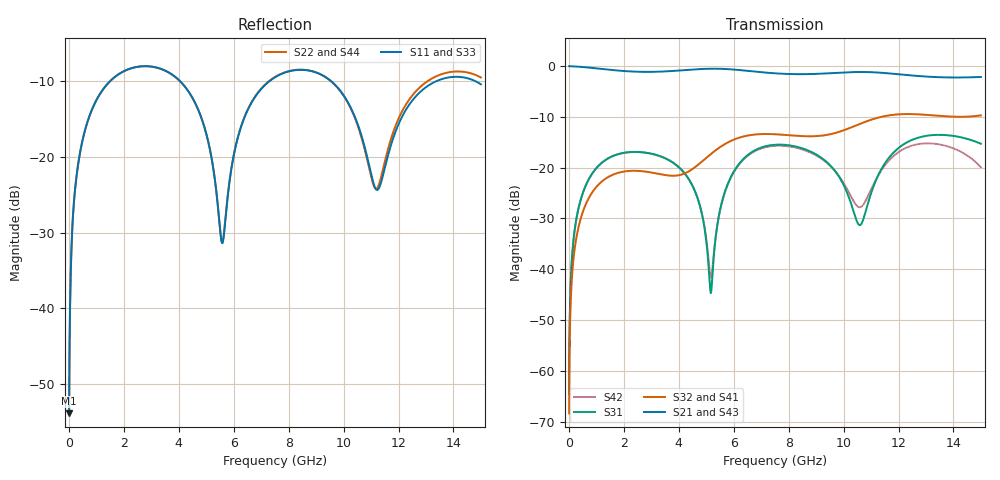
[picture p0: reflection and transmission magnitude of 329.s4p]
! Created with skrf 1.8.0 (http://scikit-rf.org).
# GHz S RI R 50.0
!freq ReS11 ImS11 ReS12 ImS12 ReS13 ImS13
! ReS14 ImS14
! ReS21 ImS21 ReS22 ImS22 ReS23 ImS23
! ReS24 ImS24
! ReS31 ImS31 ReS32 ImS32 ReS33 ImS33
! ReS34 ImS34
! ReS41 ImS41 ReS42 ImS42 ReS43 ImS43
! ReS44 ImS44
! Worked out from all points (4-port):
!   2499 points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, 5 MHz to 15 GHz, reference 50 ohm
!   strongest paths, dB at 5 MHz, 3.476 GHz, 7.19 GHz, 11.1 GHz, 15 GHz:
!     S21: 0.0, -1.1, -1.3, -1.2, -2.1
!     S43: 0.0, -1.1, -1.3, -1.2, -2.1
!     S32: -68.4, -21.4, -13.4, -10.4, -9.7
!     S41: -68.4, -21.4, -13.4, -10.4, -9.7
!     S31: -64.6, -18.1, -15.7, -23.6, -15.3
!     S42: -64.6, -18.1, -15.9, -23.2, -19.9
!   lowest |S11| = -53.9 dB at 5 MHz (marker M1), VSWR 1.00, Z = 50.2 + j0.124 ohm
!   |S11| at or under -10 dB: start of sweep to 1.488 GHz; 4.052 GHz to 7.288 GHz (3.236 GHz wide, 57.1 % of centre); 9.555 GHz to 13.36 GHz (3.803 GHz wide, 33.2 % of centre) (the widest 3 of 4)
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0.005  0.00161 0.00123  0.9984 -0.00313  7.88e-05 0.000583  -7.69e-05 -0.000374
       0.9984 -0.00313  0.00161 0.00123  -7.69e-05 -0.000374  7.88e-05 0.000583
       7.88e-05 0.000583  -7.69e-05 -0.000374  0.00161 0.00123  0.9984 -0.00313
       -7.69e-05 -0.000374  7.88e-05 0.000583  0.9984 -0.00313  0.00161 0.00123
0.3126303  0.0233 0.0812  0.9683 -0.1952  0.00984 0.0347  -0.00827 -0.0221
           0.9683 -0.1952  0.0233 0.0812  -0.00828 -0.0221  0.00981 0.0347
           0.00984 0.0347  -0.00828 -0.0221  0.0233 0.0812  0.9683 -0.1952
           -0.00827 -0.0221  0.00981 0.0347  0.9683 -0.1952  0.0233 0.0812
1.569404  0.2705 0.1831  0.5532 -0.729  0.1168 0.0553  -0.0843 -0.00722
          0.5532 -0.729  0.2706 0.1829  -0.0843 -0.00718  0.1165 0.0557
          0.1168 0.0553  -0.0843 -0.00718  0.2704 0.1831  0.5533 -0.729
          -0.0843 -0.00722  0.1165 0.0557  0.5533 -0.729  0.2706 0.1829
5.164652  0.0485 -0.0933  -0.8974 -0.2873  -0.00582 -0.000375  -0.0377 0.1308
          -0.8974 -0.2873  0.0484 -0.0929  -0.0372 0.131  -0.00825 -0.001
          -0.00582 -0.000375  -0.0372 0.131  0.0482 -0.0929  -0.8974 -0.2873
          -0.0377 0.1308  -0.00825 -0.001  -0.8974 -0.2873  0.0485 -0.0925
8.659858  0.3731 -0.0356  0.0188 0.8334  0.1204 -0.0885  0.1938 -0.0608
          0.0188 0.8334  0.3739 -0.0381  0.1941 -0.0623  0.1189 -0.0841
          0.1204 -0.0885  0.1941 -0.0623  0.3734 -0.0329  0.0184 0.8333
          0.1938 -0.0608  0.1189 -0.0841  0.0184 0.8333  0.3743 -0.0405
11.41726  0.0666 0.0313  0.8582 0.000813  0.0387 0.0934  -0.0114 -0.3189
          0.8582 0.000813  0.0698 0.0401  -0.0147 -0.3181  0.0127 0.097
          0.0387 0.0934  -0.0147 -0.3181  0.0725 0.0298  0.8582 0.00202
          -0.0114 -0.3189  0.0127 0.097  0.8582 0.00202  0.0636 0.0395
15  0.2872 -0.0957  -0.2443 -0.7423  0.0185 -0.1709  -0.2991 0.1333
    -0.2443 -0.7423  0.3104 -0.1276  -0.2976 0.1361  0.0387 -0.0932
    0.0185 -0.1709  -0.2976 0.1361  0.2847 -0.0977  -0.2435 -0.7433
    -0.2991 0.1333  0.0387 -0.0932  -0.2435 -0.7433  0.3099 -0.1233
